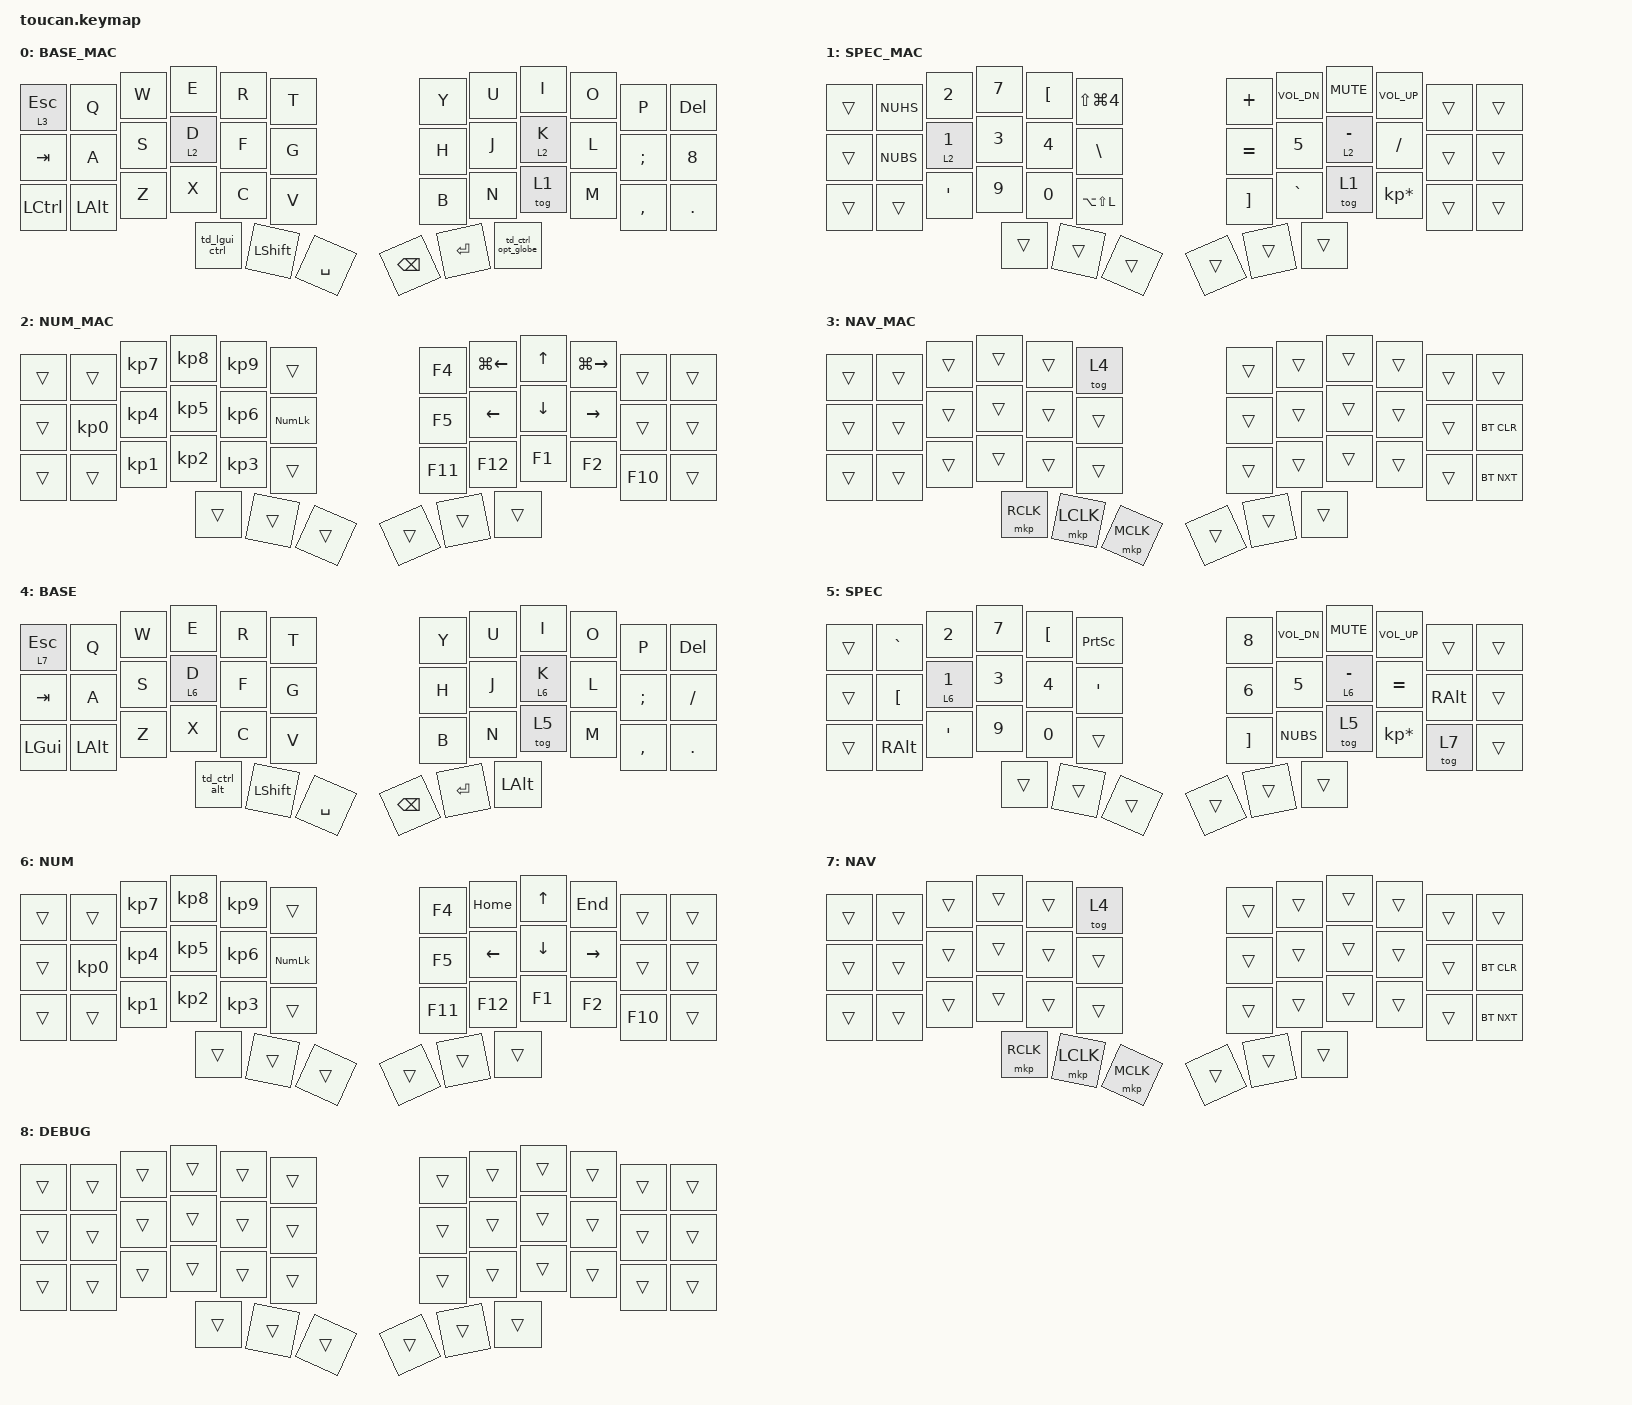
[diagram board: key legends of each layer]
#include <behaviors.dtsi>
#include <dt-bindings/zmk/keys.h>
#include <dt-bindings/zmk/bt.h>
#include <dt-bindings/zmk/outputs.h>
#include <dt-bindings/zmk/mouse.h>

#define BASE_MAC 0
#define SPEC_MAC 1
#define NAV_MAC 2
#define MOUSE_MAC 3
#define BASE 4
#define SPEC  5
#define NAV  6
#define MOUSE  7
#define DEBUG 8

/ {
    behaviors {
        lt: layer_tap {
            compatible = "zmk,behavior-hold-tap";
            #binding-cells = <2>;
            tapping-term-ms = <200>;
            quick-tap-ms = <0>;
            flavor = "balanced";
            bindings = <&mo>, <&kp>;
            hold-trigger-on-release;
        };

        td_ctrl_opt_globe: tap_dance_ctrl_opt_globe {
            compatible = "zmk,behavior-tap-dance";
            #binding-cells = <0>;
            tapping-term-ms = <200>;
            bindings = <&kp LCTRL>, <&kp LALT>, <&kp GLOBE>;
        };

        td_lgui_ctrl: tap_dance_lgui_ctrl {
            compatible = "zmk,behavior-tap-dance";
            #binding-cells = <0>;
            tapping-term-ms = <200>;
            bindings = <&kp LGUI>, <&kp LCTRL>;
        };

        td_ctrl_alt: tap_dance_ctrl_alt {
            compatible = "zmk,behavior-tap-dance";
            #binding-cells = <0>;
            tapping-term-ms = <200>;
            bindings = <&kp LCTRL>, <&kp LALT>;
        };
    };

    keymap {
        compatible = "zmk,keymap";

        base_mac {
            display-name = "BASE_MAC";
            bindings = <
                &lt 3 ESC   &kp Q       &kp W    &kp E     &kp R      &kp T                  &kp Y      &kp U      &kp I       &kp O     &kp P         &kp DEL
                &kp TAB     &kp A       &kp S    &lt 2 D     &kp F    &kp G                  &kp H      &kp J      &lt 2 K     &kp L     &kp SEMI      &kp N8
                &kp LCTRL   &kp LALT    &kp Z    &kp X     &kp C      &kp V                  &kp B      &kp N      &tog 1      &kp M     &kp COMMA     &kp DOT
                                          &td_lgui_ctrl    &kp LSHFT   &kp SPACE         &kp BSPC   &kp RET   &td_ctrl_opt_globe
            >;
        };


        spec_mac {
            display-name = "SPEC_MAC";
            bindings = <
                &trans      &kp NUHS      &kp N2     &kp N7       &kp LBKT       &kp LS(LG(N4))                &kp PLUS         &kp C_VOL_DN     &kp C_MUTE     &kp C_VOL_UP          &trans        &trans
                &trans      &kp NUBS      &lt 2 N1   &kp N3       &kp N4         &kp BSLH                      &kp EQUAL        &kp N5           &lt 2 MINUS    &kp FSLH              &trans        &trans
                &trans      &trans        &kp SQT    &kp N9       &kp N0         &kp LA(LS(L))                 &kp RBKT         &kp GRAVE        &tog 1         &kp KP_MULTIPLY       &trans        &trans
                                                              &trans       &trans       &trans              &trans         &trans       &trans
            >;
        };


        nav_mac {
            display-name = "NUM_MAC";
            bindings = <
                &trans      &trans         &kp KP_N7      &kp KP_N8       &kp KP_N9       &trans                      &kp F4      &kp LG(LEFT)  &kp UP         &kp LG(RIGHT)  &trans      &trans
                &trans      &kp KP_N0      &kp KP_N4      &kp KP_N5       &kp KP_N6       &kp KP_NUM                  &kp F5      &kp LEFT      &kp DOWN       &kp RIGHT      &trans      &trans
                &trans      &trans         &kp KP_N1      &kp KP_N2       &kp KP_N3       &trans                      &kp F11     &kp F12       &kp F1         &kp F2         &kp F10     &trans
                                                                        &trans      &trans     &trans              &trans      &trans     &trans
            >;
        };


        mouse_mac {
            display-name = "NAV_MAC";
            bindings = <
                &trans    &trans   &trans     &trans  &trans  &tog 4           &trans  &trans &trans &trans &trans &trans
                &trans    &trans   &trans     &trans  &trans  &trans           &trans  &trans &trans &trans &trans &bt BT_CLR
                &trans    &trans   &trans     &trans  &trans  &trans           &trans  &trans &trans &trans &trans &bt BT_NXT
                                         &mkp RCLK &mkp LCLK &mkp MCLK       &trans &trans &trans
            >;
        };


        base {
            display-name = "BASE";
            bindings = <
                &lt 7 ESC     &kp Q       &kp W    &kp E     &kp R      &kp T                  &kp Y      &kp U      &kp I        &kp O     &kp P         &kp DEL
                &kp TAB     &kp A       &kp S    &lt 6 D     &kp F      &kp G                  &kp H      &kp J      &lt 6 K      &kp L     &kp SEMI      &kp FSLH
                &kp LGUI    &kp LALT    &kp Z    &kp X       &kp C      &kp V                  &kp B      &kp N      &tog 5       &kp M     &kp COMMA     &kp DOT
                                                &td_ctrl_alt   &kp LSHFT   &kp SPACE            &kp BSPC   &kp RET   &kp LALT
            >;
        };


        spec {
            display-name = "SPEC";
            bindings = <
                &trans      &kp GRAVE      &kp N2     &kp N7       &kp LBKT       &kp PSCRN                 &kp N8       &kp C_VOL_DN     &kp C_MUTE     &kp C_VOL_UP          &trans        &trans
                &trans      &kp LBKT       &lt 6 N1   &kp N3       &kp N4         &kp SQT                   &kp N6       &kp N5           &lt 6 MINUS    &kp EQUAL             &kp RALT      &trans
                &trans      &kp RALT       &kp SQT    &kp N9       &kp N0         &trans                    &kp RBKT     &kp NUBS         &tog 5         &kp KP_MULTIPLY       &tog 7        &trans
                                                                &trans       &trans       &trans            &trans         &trans       &trans
            >;
        };


        nav {
            display-name = "NUM";
            bindings = <
                &trans      &trans         &kp KP_N7      &kp KP_N8       &kp KP_N9       &trans                      &kp F4      &kp HOME      &kp UP         &kp END      &trans      &trans
                &trans      &kp KP_N0      &kp KP_N4      &kp KP_N5       &kp KP_N6       &kp KP_NUM                  &kp F5      &kp LEFT      &kp DOWN       &kp RIGHT    &trans      &trans
                &trans      &trans         &kp KP_N1      &kp KP_N2       &kp KP_N3       &trans                      &kp F11     &kp F12       &kp F1         &kp F2       &kp F10     &trans
                                                                        &trans      &trans     &trans              &trans      &trans     &trans
            >;
        };


        mouse {
            display-name = "NAV";
            bindings = <
                &trans    &trans   &trans     &trans  &trans  &tog 4           &trans  &trans &trans &trans &trans &trans
                &trans    &trans   &trans     &trans  &trans  &trans           &trans  &trans &trans &trans &trans &bt BT_CLR
                &trans    &trans   &trans     &trans  &trans  &trans           &trans  &trans &trans &trans &trans &bt BT_NXT
                                         &mkp RCLK &mkp LCLK &mkp MCLK       &trans &trans &trans
            >;
        };

        debug {
            display-name = "DEBUG";
            bindings = <
                &trans   &trans  &trans  &trans  &trans  &trans           &trans  &trans &trans &trans &trans &trans
                &trans   &trans  &trans  &trans  &trans  &trans           &trans  &trans &trans &trans &trans &trans
                &trans   &trans  &trans  &trans  &trans  &trans           &trans  &trans &trans &trans &trans &trans
                                     &trans      &trans      &trans    &trans      &trans      &trans
            >;
        };

        extra_3 {
                status = "reserved";
        };
    };
};
